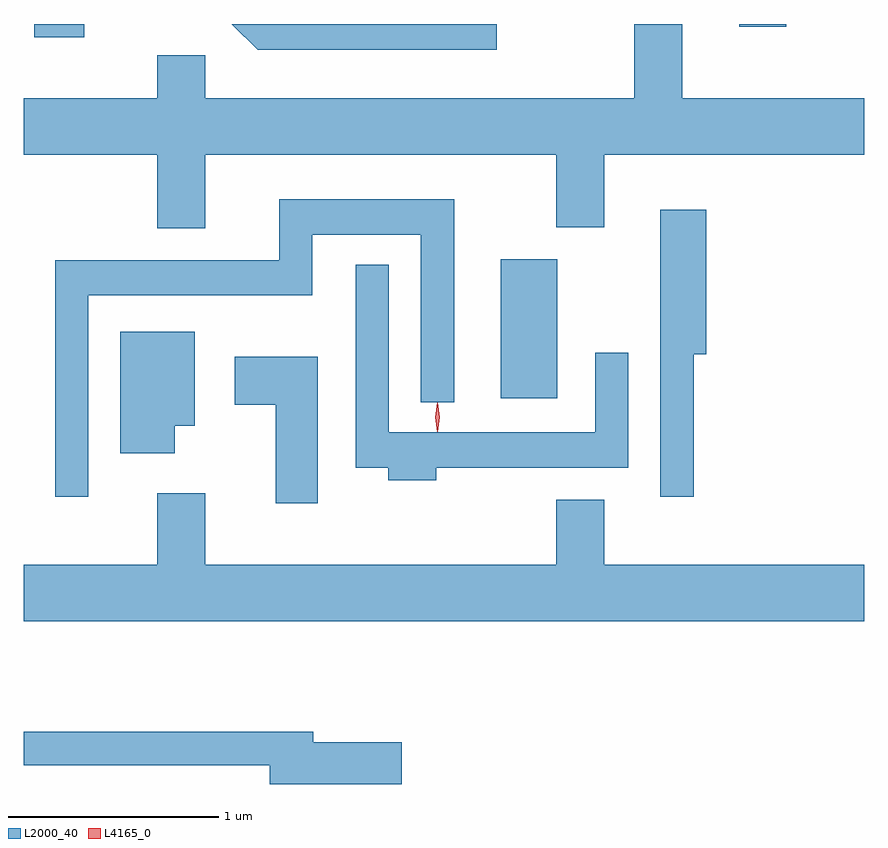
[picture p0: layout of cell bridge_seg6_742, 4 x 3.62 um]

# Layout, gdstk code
import gdstk
lib = gdstk.Library(unit=1e-6, precision=1e-09)
def R(c, l, rs):  # rectangles x0, y0, x1, y1
    for r in rs: c.add(gdstk.rectangle(r[:2], r[2:], *l))
def P(c, l, *ps):  # polygons
    for p in ps: c.add(gdstk.Polygon(p, *l))
L2000_40 = (2000, 40)
L4165_0 = (4165, 0)

bridge_seg6_742 = lib.new_cell('bridge_seg6_742')
R(bridge_seg6_742, L2000_40, [(419.866,1584.396,420.134,1585.059), (417.646,1586.116,417.884,1586.178), (421.001,1586.166,421.224,1586.178)])
P(bridge_seg6_742, L2000_40, [(418.459,1585.556),(420.131,1585.556),(420.131,1585.211),(420.359,1585.211),(420.359,1585.556),(421.596,1585.556),(421.596,1585.824),(420.729,1585.824),(420.729,1586.178),(420.501,1586.178),(420.501,1585.824),(418.459,1585.824),(418.459,1586.029),(418.231,1586.029),(418.231,1585.824),(417.596,1585.824),(417.596,1585.556),(418.231,1585.556),(418.231,1585.206),(418.459,1585.206)],
  [(419.848,1586.178),(418.587,1586.178),(418.709,1586.056),(419.848,1586.056)],
  [(417.904,1584.886),(418.969,1584.886),(418.969,1585.176),(419.486,1585.176),(419.486,1584.378),(419.644,1584.378),(419.644,1585.344),(418.811,1585.344),(418.811,1585.054),(417.746,1585.054),(417.746,1583.928),(417.904,1583.928)],
  [(420.784,1584.606),(420.844,1584.606),(420.844,1585.294),(420.626,1585.294),(420.626,1583.928),(420.784,1583.928)],
  [(419.559,1584.066),(420.474,1584.066),(420.474,1584.613),(420.316,1584.613),(420.316,1584.234),(419.334,1584.234),(419.334,1585.033),(419.176,1585.033),(419.176,1584.066),(419.331,1584.066),(419.331,1584.006),(419.559,1584.006)],
  [(418.314,1584.266),(418.409,1584.266),(418.409,1584.714),(418.056,1584.714),(418.056,1584.136),(418.314,1584.136)],
  [(418.994,1584.594),(418.601,1584.594),(418.601,1584.366),(418.796,1584.366),(418.796,1583.896),(418.994,1583.896)],
  [(421.596,1583.604),(420.359,1583.604),(420.359,1583.914),(420.131,1583.914),(420.131,1583.604),(418.459,1583.604),(418.459,1583.944),(418.231,1583.944),(418.231,1583.604),(417.596,1583.604),(417.596,1583.336),(421.596,1583.336)],
  [(419.394,1582.759),(418.974,1582.759),(418.974,1582.809),(417.596,1582.809),(417.596,1582.651),(418.766,1582.651),(418.766,1582.561),(419.394,1582.561)])
P(bridge_seg6_742, L4165_0, [(419.565,1584.237),(419.565,1584.237),(419.555,1584.307),(419.565,1584.376),(419.565,1584.376),(419.566,1584.376),(419.575,1584.307),(419.566,1584.237)],
  [(419.566,1584.239),(419.566,1584.24),(419.556,1584.306),(419.566,1584.372),(419.566,1584.373),(419.567,1584.372),(419.576,1584.306),(419.567,1584.24)])

lib.write_gds('bridge_seg6_742.gds')
